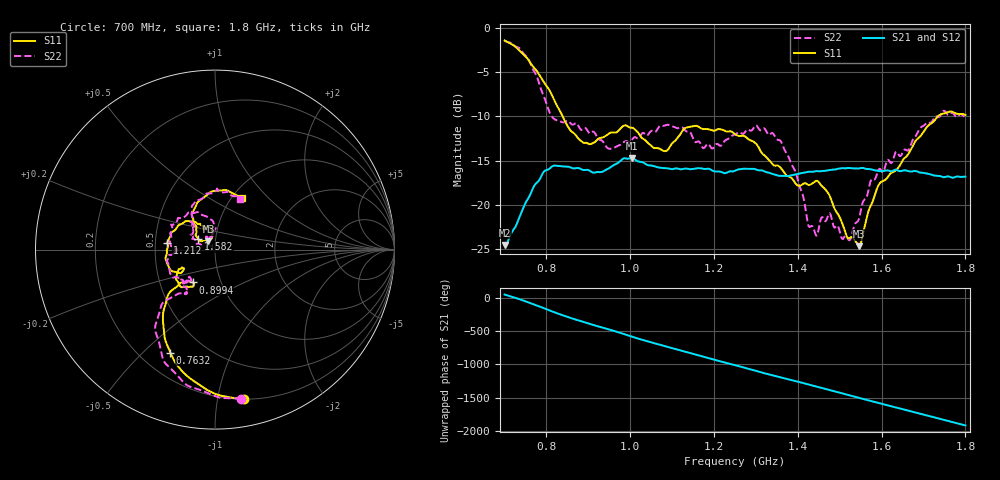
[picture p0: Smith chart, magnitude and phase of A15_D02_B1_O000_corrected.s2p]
! Created with skrf 1.9.0 (http://scikit-rf.org).
# Hz S RI R 50.0
!freq ReS11 ImS11 ReS21 ImS21 ReS12 ImS12 ReS22 ImS22
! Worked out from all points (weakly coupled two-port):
!   1601 points, 700 MHz to 1.8 GHz, reference 50 ohm
!   highest |S21| = -14.69 dB at 1.004 GHz (marker M1); lowest = -24.5 dB at 701.4 MHz (marker M2)
!   lowest |S11| = -24.7 dB at 1.546 GHz (marker M3), VSWR 1.12, Z = 46.3 + j4.25 ohm
!   |S11| at or under -10 dB: 838.6 MHz to 1.734 GHz (895.7 MHz wide, 69.6 % of centre)
!   |S22| runs from -24.0 to -1.5 dB; largest |S21 - S12| = 0.0034
!   S11 on the Smith chart (normalised r, x): 700 MHz: 0.20, -1.19; 763.2 MHz: 0.32, -0.61; 899.4 MHz: 0.73, -0.28; 1.212 GHz: 0.58, +0.05; 1.582 GHz: 0.82, +0.10; 1.8 GHz: 1.11, +0.71
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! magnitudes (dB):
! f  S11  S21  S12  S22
! 700 MHz  -1.4  -24.5  -24.3  -1.5
! 701.4 MHz  -1.5  -24.5  -24.2  -1.5
! 763.2 MHz  -4.1  -18.6  -18.6  -4.2
! 814.1 MHz  -7.7  -15.6  -15.7  -10.1
! 883.6 MHz  -12.8  -16.0  -15.9  -11.5
! 899.4 MHz  -13.1  -16.1  -16.1  -11.7
! 950.2 MHz  -11.9  -15.8  -15.8  -13.7
! 1.004 GHz  -11.3  -14.7  -14.8  -12.7
! 1.067 GHz  -13.6  -15.8  -15.7  -11.3
! 1.136 GHz  -11.2  -15.9  -15.9  -11.7
! 1.212 GHz  -11.4  -16.2  -16.2  -13.2
! 1.25 GHz  -12.0  -16.1  -16.1  -12.0
! 1.3 GHz  -13.1  -16.0  -16.0  -11.0
! 1.359 GHz  -15.8  -16.7  -16.7  -12.8
! 1.434 GHz  -17.6  -16.3  -16.2  -22.4
! 1.476 GHz  -18.9  -16.1  -16.1  -20.9
! 1.522 GHz  -23.8  -15.8  -15.8  -24.0
! 1.546 GHz  -24.7  -15.9  -15.8  -21.5
! 1.582 GHz  -19.1  -16.1  -16.1  -17.1
! 1.617 GHz  -16.7  -16.1  -16.1  -15.0
! 1.737 GHz  -9.9  -16.7  -16.8  -10.1
! 1.8 GHz  -9.8  -16.8  -16.8  -10.0
